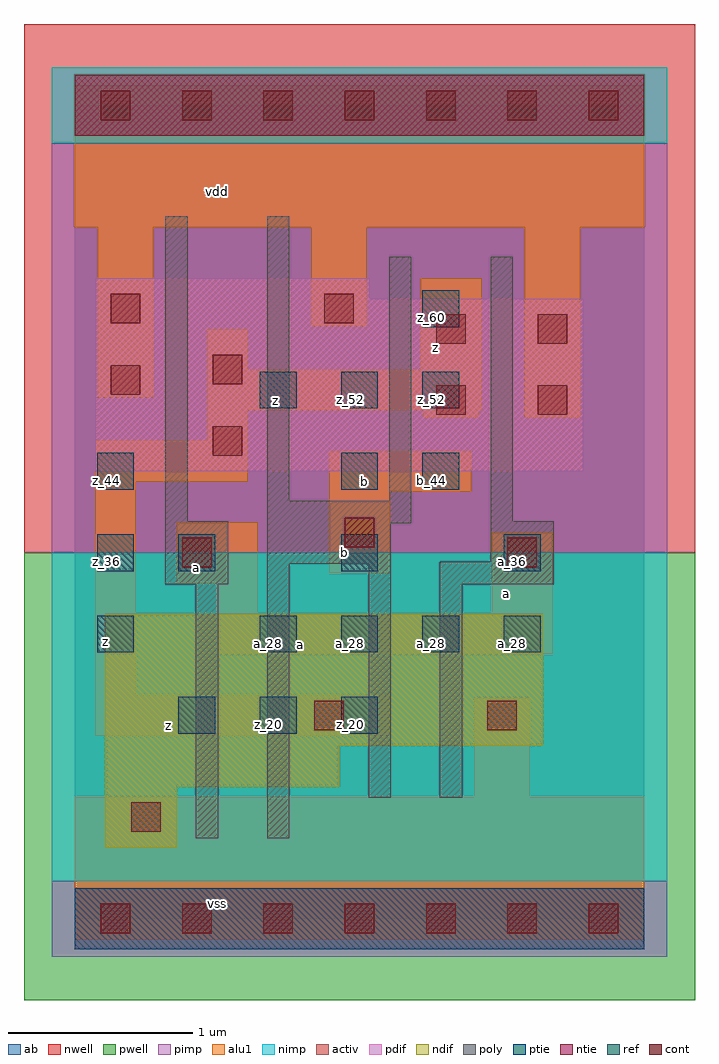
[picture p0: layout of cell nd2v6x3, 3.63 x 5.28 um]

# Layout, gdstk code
import gdstk
lib = gdstk.Library(unit=1e-6, precision=2.5e-09)
def R(c, l, rs):  # rectangles x0, y0, x1, y1
    for r in rs: c.add(gdstk.rectangle(r[:2], r[2:], *l))
def A(c, l, x, y, w, h, nx, ny, dx, dy):  # array of equal rectangles
    R(c, l, [(x+i*dx, y+j*dy, x+i*dx+w, y+j*dy+h) for i in range(nx) for j in range(ny)])
ndif = (3, 0)
pdif = (4, 0)
ntie = (5, 0)
ptie = (6, 0)
ref = (24, 0)
cont = (25, 0)
pwell = (41, 0)
nwell = (42, 0)
activ = (43, 0)
pimp = (44, 0)
nimp = (45, 0)
poly = (46, 0)
alu1 = (49, 0)
ab = (63, 0)

nd2v6x3 = lib.new_cell('nd2v6x3')
R(nd2v6x3, ndif, [(0.165,0.385,0.55,0.715), (0.165,0.715,1.43,0.935), (0.165,0.935,2.53,1.65)])
R(nd2v6x3, pdif, [(0.11,2.42,2.75,3.355), (0.11,3.355,1.595,3.465)])
R(nd2v6x3, ntie, [(0,4.235,3.08,4.565)])
R(nd2v6x3, ptie, [(0,-0.165,3.08,0.165)])
A(nd2v6x3, ref, 0.56, 1, 0.2, 0.2, 3, 1, 0.44, 0)
A(nd2v6x3, ref, 0.12, 1.44, 0.2, 0.2, 1, 3, 0, 0.44)
A(nd2v6x3, ref, 1, 1.44, 0.2, 0.2, 4, 1, 0.44, 0)
A(nd2v6x3, ref, 0.56, 1.88, 0.2, 0.2, 3, 1, 0.88, 0)
A(nd2v6x3, ref, 1, 2.76, 0.2, 0.2, 3, 1, 0.44, 0)
R(nd2v6x3, ref, [(1.44,2.32,1.64,2.52), (1.88,2.32,2.08,2.52), (1.88,3.2,2.08,3.4)])
A(nd2v6x3, cont, 0.14, -0.08, 0.16, 0.16, 7, 2, 0.44, 4.4)
R(nd2v6x3, cont, [(0.305,0.47,0.465,0.63), (1.295,1.02,1.455,1.18), (2.23,1.02,2.39,1.18), (0.58,1.9,0.74,2.06), (2.34,1.9,2.5,2.06), (1.46,2.01,1.62,2.17), (0.745,2.505,0.905,2.665), (1.955,2.725,2.115,2.885), (2.505,2.725,2.665,2.885), (0.195,2.835,0.355,2.995), (0.745,2.89,0.905,3.05), (1.955,3.11,2.115,3.27), (2.505,3.11,2.665,3.27), (0.195,3.22,0.355,3.38), (1.35,3.22,1.51,3.38)])
R(nd2v6x3, pwell, [(-0.275,-0.44,3.355,1.98)])
R(nd2v6x3, nwell, [(-0.275,1.98,3.355,4.84)])
R(nd2v6x3, activ, [(0,-0.165,3.08,0.165), (0.165,0.385,0.55,0.715), (0.165,0.715,1.43,0.935), (0.165,0.935,2.53,1.65), (0.11,2.42,2.75,3.355), (0.11,3.355,1.595,3.465), (0,4.235,3.08,4.565)])
R(nd2v6x3, pimp, [(-0.125,-0.205,3.205,0.205), (-0.125,1.98,3.205,4.195)])
R(nd2v6x3, nimp, [(-0.125,0.205,3.205,1.98), (-0.125,4.195,3.205,4.605)])
R(nd2v6x3, poly, [(0.655,0.435,0.775,1.81), (1.04,0.435,1.16,1.92), (1.59,0.655,1.71,1.92), (1.975,0.655,2.095,1.81), (0.49,1.81,0.83,2.15), (1.975,1.81,2.59,1.93), (1.04,1.92,1.71,2.14), (2.25,1.93,2.59,2.15), (1.04,2.14,1.82,2.26), (0.49,2.15,0.61,3.8), (2.25,2.15,2.37,3.58), (1.04,2.26,1.16,3.8), (1.7,2.26,1.82,3.58)])
R(nd2v6x3, alu1, [(0,-0.11,3.08,0.66), (2.16,0.66,2.46,1.195), (0.11,0.99,1.705,1.21), (0.11,1.21,0.33,2.365), (0.77,1.43,2.585,1.65), (0.77,1.65,0.99,1.815), (2.255,1.65,2.585,2.09), (0.55,1.815,0.99,2.145), (1.375,1.87,1.705,2.31), (1.375,2.31,2.145,2.53), (0.11,2.365,0.935,2.585), (0.715,2.585,0.935,2.75), (1.885,2.71,2.185,2.75), (2.435,2.71,2.735,3.74), (0.715,2.75,2.2,2.97), (0.125,2.82,0.425,3.74), (0.715,2.97,0.935,3.19), (1.87,2.97,2.2,3.465), (1.28,3.205,1.58,3.74), (0,3.74,3.08,4.51)])
R(nd2v6x3, ab, [(0,0,3.08,4.4)])
nd2v6x3.add(gdstk.Label('vss', (0.77,0.0825), layer=49, texttype=0))
nd2v6x3.add(gdstk.Label('z', (0.5075,1.045), layer=49, texttype=0))
nd2v6x3.add(gdstk.Label('a', (1.2225,1.485), layer=49, texttype=0))
nd2v6x3.add(gdstk.Label('a', (2.3375,1.76), layer=49, texttype=0))
nd2v6x3.add(gdstk.Label('b', (1.4575,1.98), layer=49, texttype=0))
nd2v6x3.add(gdstk.Label('a', (0.66,1.8975), layer=49, texttype=0))
nd2v6x3.add(gdstk.Label('b', (1.5675,2.365), layer=49, texttype=0))
nd2v6x3.add(gdstk.Label('z', (0.165,1.4975), layer=49, texttype=0))
nd2v6x3.add(gdstk.Label('z', (1.085,2.805), layer=49, texttype=0))
nd2v6x3.add(gdstk.Label('z', (1.9525,3.0925), layer=49, texttype=0))
nd2v6x3.add(gdstk.Label('vdd', (0.77,3.9325), layer=49, texttype=0))
nd2v6x3.add(gdstk.Label('a_36', (2.37,1.93), layer=24, texttype=0))
nd2v6x3.add(gdstk.Label('a_28', (2.37,1.49), layer=24, texttype=0))
nd2v6x3.add(gdstk.Label('z_44', (0.17,2.37), layer=24, texttype=0))
nd2v6x3.add(gdstk.Label('z_36', (0.17,1.93), layer=24, texttype=0))
nd2v6x3.add(gdstk.Label('z_28', (0.17,1.49), layer=24, texttype=0))
nd2v6x3.add(gdstk.Label('z_60', (1.93,3.25), layer=24, texttype=0))
nd2v6x3.add(gdstk.Label('z_52', (1.93,2.81), layer=24, texttype=0))
nd2v6x3.add(gdstk.Label('b_44', (1.93,2.37), layer=24, texttype=0))
nd2v6x3.add(gdstk.Label('a_28', (1.93,1.49), layer=24, texttype=0))
nd2v6x3.add(gdstk.Label('z_52', (1.49,2.81), layer=24, texttype=0))
nd2v6x3.add(gdstk.Label('b_44', (1.49,2.37), layer=24, texttype=0))
nd2v6x3.add(gdstk.Label('b_36', (1.49,1.93), layer=24, texttype=0))
nd2v6x3.add(gdstk.Label('a_28', (1.49,1.49), layer=24, texttype=0))
nd2v6x3.add(gdstk.Label('z_20', (1.49,1.05), layer=24, texttype=0))
nd2v6x3.add(gdstk.Label('z_52', (1.05,2.81), layer=24, texttype=0))
nd2v6x3.add(gdstk.Label('a_28', (1.05,1.49), layer=24, texttype=0))
nd2v6x3.add(gdstk.Label('z_20', (1.05,1.05), layer=24, texttype=0))
nd2v6x3.add(gdstk.Label('a_36', (0.61,1.93), layer=24, texttype=0))
nd2v6x3.add(gdstk.Label('z_20', (0.61,1.05), layer=24, texttype=0))

lib.write_gds('nd2v6x3.gds')
